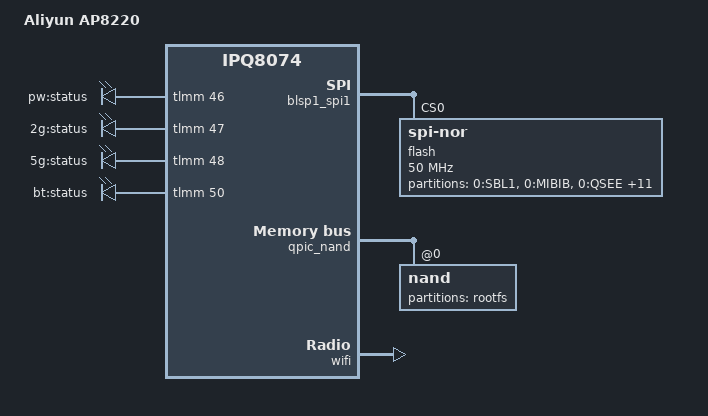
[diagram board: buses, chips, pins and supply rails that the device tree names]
// SPDX-License-Identifier: GPL-2.0-or-later OR MIT

/dts-v1/;

#include "ipq8071-edgecore.dtsi"

/ {
	model = "Aliyun AP8220";
	compatible = "aliyun,ap8220", "qcom,ipq8074";

	leds {
		compatible = "gpio-leds";

		led_pw: led-pw {
			label = "pw:status";
			gpios = <&tlmm 46 GPIO_ACTIVE_HIGH>;
		};

		led_2g: led-2g {
			label = "2g:status";
			gpios = <&tlmm 47 GPIO_ACTIVE_HIGH>;
		};

		led_5g: led-5g {
			label = "5g:status";
			gpios = <&tlmm 48 GPIO_ACTIVE_HIGH>;
		};

		led_bt: led-bt {
			label = "bt:status";
			gpios = <&tlmm 50 GPIO_ACTIVE_HIGH>;
		};
	};
};

&blsp1_spi1 {
	status = "okay";

	pinctrl-0 = <&spi_0_pins>;
	pinctrl-names = "default";
	cs-select = <0>;

	flash@0 {
		compatible = "jedec,spi-nor";
		#address-cells = <1>;
		#size-cells = <1>;
		reg = <0>;
		spi-max-frequency = <50000000>;

		partitions {
			compatible = "fixed-partitions";
			#address-cells = <1>;
			#size-cells = <1>;

			partition@0 {
				label = "0:SBL1";
				reg = <0x00 0x50000>;
			};

			partition@50000 {
				label = "0:MIBIB";
				reg = <0x50000 0x10000>;
			};

			partition@60000 {
				label = "0:QSEE";
				reg = <0x60000 0x180000>;
			};

			partition@1e0000 {
				label = "0:DEVCFG";
				reg = <0x1e0000 0x10000>;
			};

			partition@1f0000 {
				label = "0:APDP";
				reg = <0x1f0000 0x10000>;
			};

			partition@200000 {
				label = "0:RPM";
				reg = <0x200000 0x40000>;
			};

			partition@240000 {
				label = "0:CDT";
				reg = <0x240000 0x10000>;
			};

			partition@250000 {
				label = "0:APPSBLENV";
				reg = <0x250000 0x10000>;
			};

			partition@260000 {
				label = "0:APPSBL";
				reg = <0x260000 0xa0000>;
			};

			partition@300000 {
				label = "0:ART";
				reg = <0x300000 0x40000>;
			};

			partition@340000 {
				label = "0:ETHPHYFW";
				reg = <0x340000 0x80000>;
			};

			partition@3c0000 {
				label = "product_info";
				reg = <0x3c0000 0x10000>;
			};

			partition@3d0000 {
				label = "mtdoops";
				reg = <0x3d0000 0x20000>;
			};

			partition@3f0000 {
				label = "priv_data1";
				reg = <0x3f0000 0x10000>;
			};
		};
	};
};

&qpic_nand {
	status = "okay";

	nand@0 {
		reg = <0>;
		#address-cells = <0x01>;
		#size-cells = <0x01>;
		nand-ecc-strength = <0x04>;
		nand-ecc-step-size = <0x200>;
		nand-bus-width = <0x08>;

		partition@0 {
			label = "rootfs";
			reg = <0x00 0x8000000>;
		};
	};
};

&wifi {
	qcom,ath11k-calibration-variant = "Aliyun-AP8220";
};
